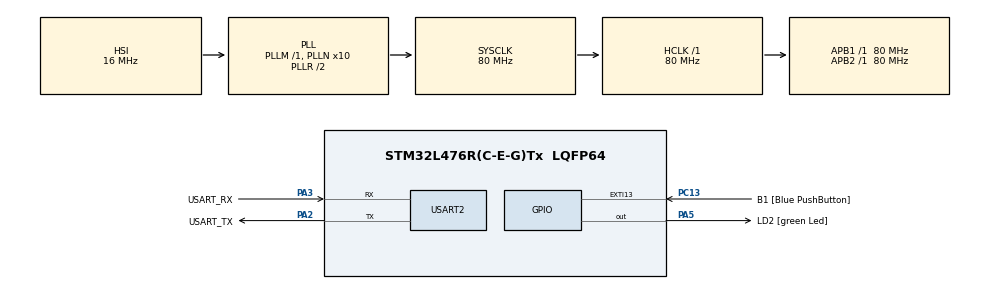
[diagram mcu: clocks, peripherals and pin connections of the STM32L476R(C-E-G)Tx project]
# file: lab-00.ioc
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Mcu.Family=STM32L4
Mcu.Name=STM32L476R(C-E-G)Tx
Mcu.Package=LQFP64
NVIC.PriorityGroup=NVIC_PRIORITYGROUP_4
PA13\ (JTMS-SWDIO).GPIO_Label=TMS
PA13\ (JTMS-SWDIO).Mode=Serial_Wire
PA13\ (JTMS-SWDIO).Signal=SYS_JTMS-SWDIO
PA14\ (JTCK-SWCLK).GPIO_Label=TCK
PA14\ (JTCK-SWCLK).Mode=Serial_Wire
PA14\ (JTCK-SWCLK).Signal=SYS_JTCK-SWCLK
PA2.GPIO_Label=USART_TX
PA2.GPIO_Mode=GPIO_MODE_AF_PP
PA2.GPIO_PuPd=GPIO_NOPULL
PA2.GPIO_Speed=GPIO_SPEED_FREQ_VERY_HIGH
PA2.Mode=Asynchronous
PA2.Signal=USART2_TX
PA3.GPIO_Label=USART_RX
PA3.GPIO_Mode=GPIO_MODE_AF_PP
PA3.GPIO_PuPd=GPIO_NOPULL
PA3.GPIO_Speed=GPIO_SPEED_FREQ_VERY_HIGH
PA3.Mode=Asynchronous
PA3.Signal=USART2_RX
PA5.GPIO_Label=LD2 [green Led]
PA5.GPIO_ModeDefaultOutputPP=GPIO_MODE_OUTPUT_PP
PA5.GPIO_PuPd=GPIO_NOPULL
PA5.GPIO_Speed=GPIO_SPEED_FREQ_LOW
PA5.Signal=GPIO_Output
PB3\ (JTDO-TRACESWO).GPIO_Label=SWO
PB3\ (JTDO-TRACESWO).Signal=SYS_JTDO-SWO
PC13.GPIO_Label=B1 [Blue PushButton]
PC13.GPIO_ModeDefaultEXTI=GPIO_MODE_IT_FALLING
PC13.GPIO_PuPd=GPIO_NOPULL
PC13.Signal=GPXTI13
PC14-OSC32_IN\ (PC14).Mode=LSE-External-Oscillator
PC14-OSC32_IN\ (PC14).Signal=RCC_OSC32_IN
PC15-OSC32_OUT\ (PC15).Mode=LSE-External-Oscillator
PC15-OSC32_OUT\ (PC15).Signal=RCC_OSC32_OUT
PH0-OSC_IN\ (PH0).Signal=RCC_OSC_IN
PH1-OSC_OUT\ (PH1).Signal=RCC_OSC_OUT
ProjectManager.HeapSize=0x200
ProjectManager.StackSize=0x400
ProjectManager.TargetToolchain=STM32CubeIDE
RCC.ADCFreq_Value=64000000
RCC.AHBFreq_Value=80000000
RCC.APB1Freq_Value=80000000
RCC.APB1TimFreq_Value=80000000
RCC.APB2Freq_Value=80000000
RCC.APB2TimFreq_Value=80000000
RCC.CortexFreq_Value=80000000
RCC.HCLKFreq_Value=80000000
RCC.HSE_VALUE=8000000
RCC.HSI_VALUE=16000000
RCC.MSI_VALUE=4000000
RCC.PLLN=10
RCC.PLLSourceVirtual=RCC_PLLSOURCE_HSI
RCC.PREFETCH_ENABLE=1
RCC.SYSCLKFreq_VALUE=80000000
RCC.SYSCLKSource=RCC_SYSCLKSOURCE_PLLCLK
RCC.USBFreq_Value=64000000
RCC.VCOOutputFreq_Value=160000000
USART2.VirtualMode-Asynchronous=VM_ASYNC
board=NUCLEO-L476RG

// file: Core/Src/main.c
/* USER CODE BEGIN Header */
/**
  ******************************************************************************
  * @file           : main.c
  * @brief          : Main program body
  ******************************************************************************
  * @attention
  *
  * Copyright (c) 2024 STMicroelectronics.
  * All rights reserved.
  *
  * This software is licensed under terms that can be found in the LICENSE file
  * in the root directory of this software component.
  * If no LICENSE file comes with this software, it is provided AS-IS.
  *
  ******************************************************************************
  */
/* USER CODE END Header */
#include "main.h"

/* USER CODE BEGIN Includes */
#include <stdio.h>
/* USER CODE END Includes */

UART_HandleTypeDef huart2;

void SystemClock_Config(void);
static void MX_GPIO_Init(void);
static void MX_USART2_UART_Init(void);

int main(void)
{

  /* MCU Configuration--------------------------------------------------------*/

  /* Reset of all peripherals, Initializes the Flash interface and the Systick. */
  HAL_Init();

  /* Configure the system clock */
  SystemClock_Config();

  /* Initialize all configured peripherals */
  MX_GPIO_Init();
  MX_USART2_UART_Init();
  /* USER CODE BEGIN 2 */

  //HAL_TIM_PWM_Start(&htim2,TIM_CHANNEL_1);

  // int compare_value = 16000;
  int number_of_blinks = 0;
  char buffer[50] = "";
  int on_time = 200; //milliseconds
  int period = 500; //milliseconds
  int off_time = period-on_time; //milliseconds

  /* USER CODE END 2 */

  /* Infinite loop */
  while (1)
  {

    /* USER CODE BEGIN 3 */

	  // Print to console
	  if(number_of_blinks == 0){
		  HAL_UART_Transmit(&huart2, (uint8_t*)"\r\nProgram Start.\r\n", 50, HAL_MAX_DELAY);
	  }

	  // Raise Pin
	  HAL_GPIO_WritePin(GPIOA, GPIO_PIN_5, GPIO_PIN_SET);

	  // Increment number of blinks
	  number_of_blinks ++;

	  // Print number of blinks
	  sprintf(buffer, "The LED has blinked %i times.\r\n", number_of_blinks);
	  HAL_UART_Transmit(&huart2, (uint8_t*) buffer, 50, HAL_MAX_DELAY);

	  // Delay
	  HAL_Delay(on_time);
	  HAL_GPIO_TogglePin(GPIOA, GPIO_PIN_5); // or  HAL_GPIO_WritePin(GPIOA, GPIO_PIN_5, GPIO_PIN_RESET);
	  HAL_Delay(off_time);

	  // End of loop

  }
  /* USER CODE END 3 */
}

void SystemClock_Config(void)
{
  RCC_OscInitTypeDef RCC_OscInitStruct = {0};
  RCC_ClkInitTypeDef RCC_ClkInitStruct = {0};

  /** Configure the main internal regulator output voltage
  */
  if (HAL_PWREx_ControlVoltageScaling(PWR_REGULATOR_VOLTAGE_SCALE1) != HAL_OK)
  {
    Error_Handler();
  }

  /** Initializes the RCC Oscillators according to the specified parameters
  * in the RCC_OscInitTypeDef structure.
  */
  RCC_OscInitStruct.OscillatorType = RCC_OSCILLATORTYPE_HSI;
  RCC_OscInitStruct.HSIState = RCC_HSI_ON;
  RCC_OscInitStruct.HSICalibrationValue = RCC_HSICALIBRATION_DEFAULT;
  RCC_OscInitStruct.PLL.PLLState = RCC_PLL_ON;
  RCC_OscInitStruct.PLL.PLLSource = RCC_PLLSOURCE_HSI;
  RCC_OscInitStruct.PLL.PLLM = 1;
  RCC_OscInitStruct.PLL.PLLN = 10;
  RCC_OscInitStruct.PLL.PLLP = RCC_PLLP_DIV7;
  RCC_OscInitStruct.PLL.PLLQ = RCC_PLLQ_DIV2;
  RCC_OscInitStruct.PLL.PLLR = RCC_PLLR_DIV2;
  if (HAL_RCC_OscConfig(&RCC_OscInitStruct) != HAL_OK)
  {
    Error_Handler();
  }

  /** Initializes the CPU, AHB and APB buses clocks
  */
  RCC_ClkInitStruct.ClockType = RCC_CLOCKTYPE_HCLK|RCC_CLOCKTYPE_SYSCLK
                              |RCC_CLOCKTYPE_PCLK1|RCC_CLOCKTYPE_PCLK2;
  RCC_ClkInitStruct.SYSCLKSource = RCC_SYSCLKSOURCE_PLLCLK;
  RCC_ClkInitStruct.AHBCLKDivider = RCC_SYSCLK_DIV1;
  RCC_ClkInitStruct.APB1CLKDivider = RCC_HCLK_DIV1;
  RCC_ClkInitStruct.APB2CLKDivider = RCC_HCLK_DIV1;

  if (HAL_RCC_ClockConfig(&RCC_ClkInitStruct, FLASH_LATENCY_4) != HAL_OK)
  {
    Error_Handler();
  }
}

static void MX_USART2_UART_Init(void)
{

  huart2.Instance = USART2;
  huart2.Init.BaudRate = 115200;
  huart2.Init.WordLength = UART_WORDLENGTH_8B;
  huart2.Init.StopBits = UART_STOPBITS_1;
  huart2.Init.Parity = UART_PARITY_NONE;
  huart2.Init.Mode = UART_MODE_TX_RX;
  huart2.Init.HwFlowCtl = UART_HWCONTROL_NONE;
  huart2.Init.OverSampling = UART_OVERSAMPLING_16;
  huart2.Init.OneBitSampling = UART_ONE_BIT_SAMPLE_DISABLE;
  huart2.AdvancedInit.AdvFeatureInit = UART_ADVFEATURE_NO_INIT;
  if (HAL_UART_Init(&huart2) != HAL_OK)
  {
    Error_Handler();
  }

}

static void MX_GPIO_Init(void)
{
  GPIO_InitTypeDef GPIO_InitStruct = {0};

  /* GPIO Ports Clock Enable */
  __HAL_RCC_GPIOC_CLK_ENABLE();
  __HAL_RCC_GPIOH_CLK_ENABLE();
  __HAL_RCC_GPIOA_CLK_ENABLE();
  __HAL_RCC_GPIOB_CLK_ENABLE();

  /*Configure GPIO pin Output Level */
  HAL_GPIO_WritePin(LD2_GPIO_Port, LD2_Pin, GPIO_PIN_RESET);

  /*Configure GPIO pin : B1_Pin */
  GPIO_InitStruct.Pin = B1_Pin;
  GPIO_InitStruct.Mode = GPIO_MODE_IT_FALLING;
  GPIO_InitStruct.Pull = GPIO_NOPULL;
  HAL_GPIO_Init(B1_GPIO_Port, &GPIO_InitStruct);

  /*Configure GPIO pin : LD2_Pin */
  GPIO_InitStruct.Pin = LD2_Pin;
  GPIO_InitStruct.Mode = GPIO_MODE_OUTPUT_PP;
  GPIO_InitStruct.Pull = GPIO_NOPULL;
  GPIO_InitStruct.Speed = GPIO_SPEED_FREQ_LOW;
  HAL_GPIO_Init(LD2_GPIO_Port, &GPIO_InitStruct);

}

void Error_Handler(void)
{
  __disable_irq();
  while (1)
  {
  }
}
